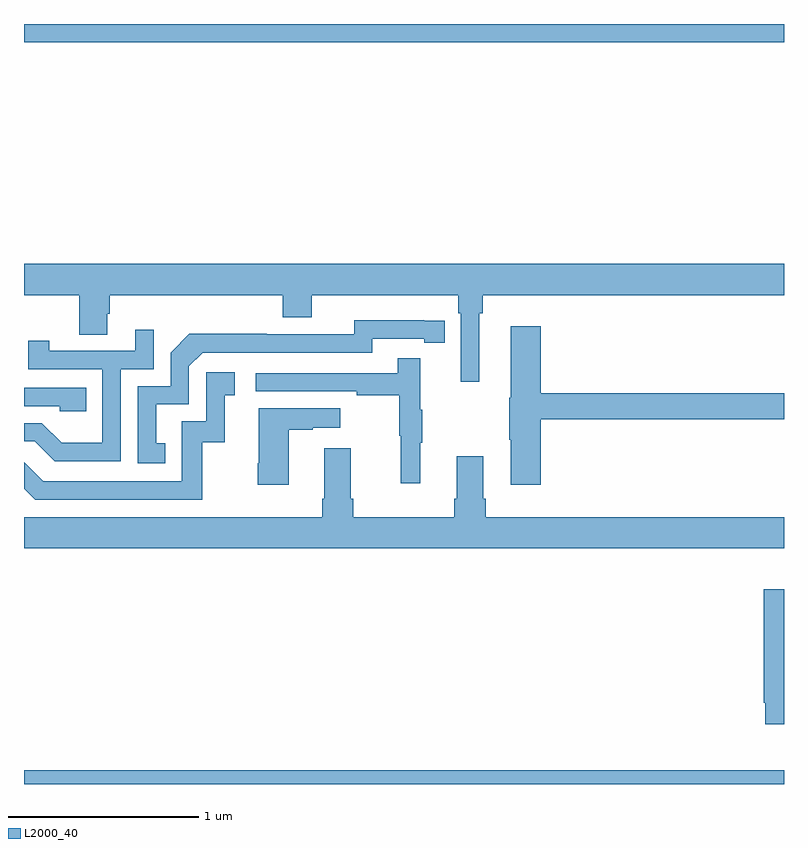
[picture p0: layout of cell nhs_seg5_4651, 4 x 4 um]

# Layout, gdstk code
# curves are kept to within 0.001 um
import gdstk
lib = gdstk.Library(unit=1e-6, precision=1e-09)
def R(c, l, rs):  # rectangles x0, y0, x1, y1
    for r in rs: c.add(gdstk.rectangle(r[:2], r[2:], *l))
def P(c, l, *ps):  # polygons
    for p in ps: c.add(gdstk.Polygon(p, *l))
L2000_40 = (2000, 40)

nhs_seg5_4651 = lib.new_cell('nhs_seg5_4651')
R(nhs_seg5_4651, L2000_40, [(383,908.799,387,908.872), (383,912.704,387,912.799)])
P(nhs_seg5_4651, L2000_40, [(385.396,911.276),(385.415,911.276),(385.415,911.372),(387,911.372),(387,911.536),(383,911.536),(383,911.372),(383.29,911.372),(383.29,911.164),(383.437,911.164),(383.437,911.274),(383.45,911.274),(383.45,911.372),(384.362,911.372),(384.362,911.255),(384.514,911.255),(384.514,911.372),(385.286,911.372),(385.286,911.276),(385.299,911.276),(385.299,910.917),(385.396,910.917)],
  [(383.744,910.593),(383.695,910.593),(383.695,910.797),(383.868,910.797),(383.868,910.998),(383.94,911.07),(384.834,911.07),(384.834,911.142),(385.106,911.142),(385.106,911.122),(385.214,911.122),(385.214,911.238),(384.738,911.239),(384.738,911.166),(384.278,911.166),(384.278,911.168),(383.87,911.168),(383.772,911.07),(383.772,910.893),(383.598,910.893),(383.598,910.488),(383.744,910.488)],
  [(385.721,910.72),(387,910.72),(387,910.856),(385.721,910.856),(385.721,911.209),(385.562,911.209),(385.562,910.833),(385.555,910.833),(385.555,910.612),(385.562,910.612),(385.562,910.374),(385.721,910.374)],
  [(383.508,910.983),(383.682,910.983),(383.682,911.191),(383.585,911.191),(383.585,911.079),(383.134,911.079),(383.134,911.131),(383.023,911.131),(383.023,910.983),(383.412,910.983),(383.412,910.594),(383.198,910.594),(383.094,910.698),(383,910.698),(383,910.602),(383.057,910.602),(383.162,910.497),(383.508,910.497)],
  [(385.085,910.595),(385.096,910.595),(385.096,910.769),(385.085,910.769),(385.085,911.041),(384.967,911.041),(384.967,910.962),(384.219,910.962),(384.219,910.866),(384.751,910.866),(384.751,910.846),(384.975,910.846),(384.975,910.632),(384.982,910.632),(384.982,910.383),(385.085,910.383)],
  [(383.938,910.599),(384.056,910.599),(384.056,910.845),(384.109,910.845),(384.109,910.966),(383.958,910.966),(383.958,910.707),(383.829,910.707),(383.829,910.392),(383.1,910.392),(383,910.492),(383,910.354),(383.058,910.296),(383.938,910.296)],
  [(383.327,910.884),(383,910.884),(383,910.788),(383.187,910.788),(383.187,910.761),(383.327,910.761)],
  [(384.394,910.663),(384.521,910.663),(384.521,910.673),(384.664,910.673),(384.664,910.777),(384.236,910.777),(384.236,910.486),(384.229,910.486),(384.229,910.374),(384.394,910.374)],
  [(387,910.204),(385.43,910.204),(385.43,910.3),(385.417,910.3),(385.417,910.525),(385.277,910.525),(385.277,910.3),(385.265,910.3),(385.265,910.204),(384.734,910.204),(384.734,910.3),(384.721,910.3),(384.721,910.567),(384.581,910.567),(384.581,910.3),(384.569,910.3),(384.569,910.204),(383,910.204),(383,910.04),(387,910.04)],
  [(387,909.824),(386.893,909.824),(386.893,909.226),(386.901,909.226),(386.901,909.114),(387,909.114)])

lib.write_gds('nhs_seg5_4651.gds')
